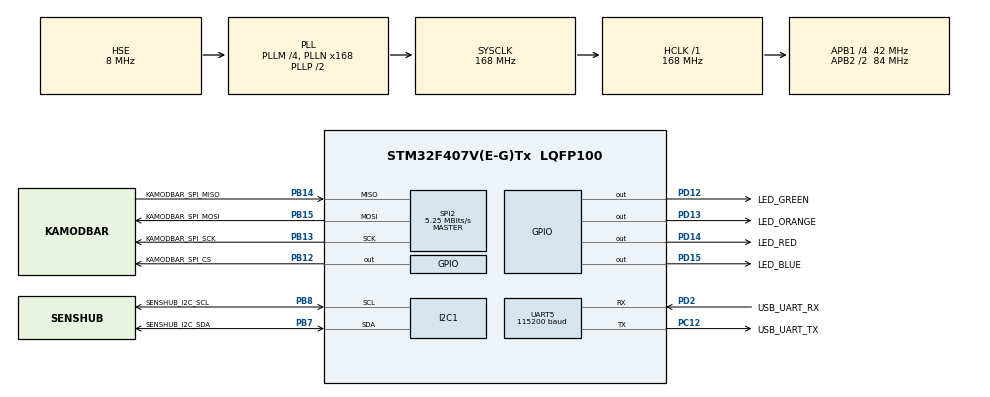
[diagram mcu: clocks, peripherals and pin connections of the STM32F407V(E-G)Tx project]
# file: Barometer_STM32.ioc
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Mcu.Family=STM32F4
Mcu.Name=STM32F407V(E-G)Tx
Mcu.Package=LQFP100
NVIC.PriorityGroup=NVIC_PRIORITYGROUP_4
PB12.GPIO_Label=KAMODBAR_SPI_CS
PB12.PinState=GPIO_PIN_SET
PB12.Signal=GPIO_Output
PB13.GPIO_Label=KAMODBAR_SPI_SCK
PB13.Mode=Full_Duplex_Master
PB13.Signal=SPI2_SCK
PB14.GPIO_Label=KAMODBAR_SPI_MISO
PB14.Mode=Full_Duplex_Master
PB14.Signal=SPI2_MISO
PB15.GPIO_Label=KAMODBAR_SPI_MOSI
PB15.Mode=Full_Duplex_Master
PB15.Signal=SPI2_MOSI
PB7.GPIO_Label=SENSHUB_I2C_SDA
PB7.GPIO_PuPdOD=GPIO_NOPULL
PB7.Mode=I2C
PB7.Signal=I2C1_SDA
PB8.GPIO_Label=SENSHUB_I2C_SCL
PB8.GPIO_PuPdOD=GPIO_NOPULL
PB8.Mode=I2C
PB8.Signal=I2C1_SCL
PC12.GPIO_Label=USB_UART_TX
PC12.Mode=Asynchronous
PC12.Signal=UART5_TX
PD12.GPIO_Label=LED_GREEN
PD12.Signal=GPIO_Output
PD13.GPIO_Label=LED_ORANGE
PD13.Signal=GPIO_Output
PD14.GPIO_Label=LED_RED
PD14.Signal=GPIO_Output
PD15.GPIO_Label=LED_BLUE
PD15.Signal=GPIO_Output
PD2.GPIO_Label=USB_UART_RX
PD2.Mode=Asynchronous
PD2.Signal=UART5_RX
PH0-OSC_IN.Mode=HSE-External-Oscillator
PH0-OSC_IN.Signal=RCC_OSC_IN
PH1-OSC_OUT.Mode=HSE-External-Oscillator
PH1-OSC_OUT.Signal=RCC_OSC_OUT
ProjectManager.HeapSize=0x200
ProjectManager.StackSize=0x400
ProjectManager.TargetToolchain=SW4STM32
RCC.48MHZClocksFreq_Value=84000000
RCC.AHBFreq_Value=168000000
RCC.APB1CLKDivider=RCC_HCLK_DIV4
RCC.APB1Freq_Value=42000000
RCC.APB1TimFreq_Value=84000000
RCC.APB2CLKDivider=RCC_HCLK_DIV2
RCC.APB2Freq_Value=84000000
RCC.APB2TimFreq_Value=168000000
RCC.CortexFreq_Value=168000000
RCC.HCLKFreq_Value=168000000
RCC.HSE_VALUE=8000000
RCC.HSI_VALUE=16000000
RCC.LSE_VALUE=32768
RCC.PLLM=4
RCC.PLLN=168
RCC.PLLSourceVirtual=RCC_PLLSOURCE_HSE
RCC.SYSCLKFreq_VALUE=168000000
RCC.SYSCLKSource=RCC_SYSCLKSOURCE_PLLCLK
RCC.VCOOutputFreq_Value=336000000
SPI2.BaudRatePrescaler=SPI_BAUDRATEPRESCALER_8
SPI2.CalculateBaudRate=5.25 MBits/s
SPI2.Mode=SPI_MODE_MASTER
UART5.BaudRate=115200
board=Barometer_STM32

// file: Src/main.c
/**
  ******************************************************************************
  * File Name          : main.c
  * Description        : Main program body
  ******************************************************************************
  *
  * COPYRIGHT(c) 2016 STMicroelectronics
  *
  * Redistribution and use in source and binary forms, with or without modification,
  * are permitted provided that the following conditions are met:
  *   1. Redistributions of source code must retain the above copyright notice,
  *      this list of conditions and the following disclaimer.
  *   2. Redistributions in binary form must reproduce the above copyright notice,
  *      this list of conditions and the following disclaimer in the documentation
  *      and/or other materials provided with the distribution.
  *   3. Neither the name of STMicroelectronics nor the names of its contributors
  *      may be used to endorse or promote products derived from this software
  *      without specific prior written permission.
  *
  * THIS SOFTWARE IS PROVIDED BY THE COPYRIGHT HOLDERS AND CONTRIBUTORS "AS IS"
  * AND ANY EXPRESS OR IMPLIED WARRANTIES, INCLUDING, BUT NOT LIMITED TO, THE
  * IMPLIED WARRANTIES OF MERCHANTABILITY AND FITNESS FOR A PARTICULAR PURPOSE ARE
  * DISCLAIMED. IN NO EVENT SHALL THE COPYRIGHT HOLDER OR CONTRIBUTORS BE LIABLE
  * FOR ANY DIRECT, INDIRECT, INCIDENTAL, SPECIAL, EXEMPLARY, OR CONSEQUENTIAL
  * DAMAGES (INCLUDING, BUT NOT LIMITED TO, PROCUREMENT OF SUBSTITUTE GOODS OR
  * SERVICES; LOSS OF USE, DATA, OR PROFITS; OR BUSINESS INTERRUPTION) HOWEVER
  * CAUSED AND ON ANY THEORY OF LIABILITY, WHETHER IN CONTRACT, STRICT LIABILITY,
  * OR TORT (INCLUDING NEGLIGENCE OR OTHERWISE) ARISING IN ANY WAY OUT OF THE USE
  * OF THIS SOFTWARE, EVEN IF ADVISED OF THE POSSIBILITY OF SUCH DAMAGE.
  *
  ******************************************************************************
  */
#include "stm32f4xx_hal.h"

/* USER CODE BEGIN Includes */
/**
  ******************************************************************************
  * @file    main.c
  * @author  Karol Leszczyński
  * @version V1.0.0
  * @date    14-August-2016
  * @brief   Main file of Barometer_STM32 program.
  ******************************************************************************
  *
  * This file is part of Barometer_STM32.
  *
  * Barometer_STM32 is free software: you can redistribute it and/or modify
  * it under the terms of the GNU General Public License as published by
  * the Free Software Foundation, either version 3 of the License, or
  * (at your option) any later version.
  *
  * Barometer_STM32 is distributed in the hope that it will be useful,
  * but WITHOUT ANY WARRANTY; without even the implied warranty of
  * MERCHANTABILITY or FITNESS FOR A PARTICULAR PURPOSE.  See the
  * GNU General Public License for more details.
  *
  * You should have received a copy of the GNU General Public License
  * along with Barometer_STM32.  If not, see <http://www.gnu.org/licenses/>.
  *
  ******************************************************************************
  */

#include "bmp180.h"
#include "mpl115a1.h"
#include <math.h>
#include <string.h>
/* USER CODE END Includes */

I2C_HandleTypeDef hi2c1;

SPI_HandleTypeDef hspi2;

UART_HandleTypeDef huart5;

/* USER CODE BEGIN PV */
/* Private variables ---------------------------------------------------------*/

/* USER CODE END PV */

void SystemClock_Config(void);
void Error_Handler(void);
static void MX_GPIO_Init(void);
static void MX_UART5_Init(void);
static void MX_SPI2_Init(void);
static void MX_I2C1_Init(void);

/* USER CODE BEGIN PFP */
/* Private function prototypes -----------------------------------------------*/

/* USER CODE END PFP */

/* USER CODE BEGIN 0 */
void shiftLed();
void setAllLed();
void blinkLed();
/* USER CODE END 0 */

int main(void)
{

  /* MCU Configuration----------------------------------------------------------*/

  /* Reset of all peripherals, Initializes the Flash interface and the Systick. */
  HAL_Init();

  /* Configure the system clock */
  SystemClock_Config();

  /* Initialize all configured peripherals */
  MX_GPIO_Init();
  MX_UART5_Init();
  MX_SPI2_Init();
  MX_I2C1_Init();

  /* Infinite loop */
  /* USER CODE BEGIN WHILE */
  HAL_StatusTypeDef status;

  bmp180Device bmp180Device = {0};
  bmp180Device.handle = &hi2c1;
  bmp180Device.oversampling = 3;
  status = bmp180ReadCoefficients(&bmp180Device);
  if (status != HAL_OK)
    Error_Handler();

  mpl115a1Device mpl115a1Device = {0};
  mpl115a1Device.handle = &hspi2;
  mpl115a1Device.csPort = KAMODBAR_SPI_CS_GPIO_Port;
  mpl115a1Device.csPin = KAMODBAR_SPI_CS_Pin;
  status = mpl115a1ReadCoefficients(&mpl115a1Device);
  if (status != HAL_OK)
    Error_Handler();

  uint8_t uartMessage[] = "MPL115A1_Pressure;BMP180_Pressure;BMP180_Temperature\n\r";
  size_t messageSize = strlen(uartMessage) * sizeof(uartMessage[0]);
  status = HAL_UART_Transmit(&huart5, uartMessage, messageSize, 1000);
  if (status != HAL_OK)
    Error_Handler();

  while (1)
  {
    float bmp180Pressure = 0;
    float bmp180Temperature = 0;
    float mpl115a1Pressure = 0;

    // Software averaging using 16 samples.
    for(uint8_t i = 0; i < 16; i++)
    {
      status = bmp180ReadMeasurements(&bmp180Device);
      if (status != HAL_OK)
        Error_Handler();

      status = mpl115a1ReadMeasurements(&mpl115a1Device);
      if (status != HAL_OK)
        Error_Handler();

      bmp180Pressure += bmp180Device.pressure;
      bmp180Temperature += bmp180Device.temperature;
      mpl115a1Pressure += mpl115a1Device.pressure;
    }
    bmp180Pressure /= 16.0;
    bmp180Temperature /= 16.0;
    mpl115a1Pressure /= 16.0;

    bmp180Pressure = round(bmp180Pressure * 1000.0);
    bmp180Temperature = round(bmp180Temperature * 1000.0);
    mpl115a1Pressure = round(mpl115a1Pressure * 1000.0);

    sprintf(uartMessage, "%lu;%lu;%lu\n\r", (uint32_t)mpl115a1Pressure,
            (uint32_t)bmp180Pressure, (uint32_t)bmp180Temperature);
    messageSize = strlen(uartMessage) * sizeof(uartMessage[0]);
    status = HAL_UART_Transmit (&huart5, uartMessage, messageSize, 1000);
    if (status != HAL_OK)
      Error_Handler();

    shiftLed();
  /* USER CODE END WHILE */

  }

}

/** System Clock Configuration
*/
void SystemClock_Config(void)
{

  RCC_OscInitTypeDef RCC_OscInitStruct;
  RCC_ClkInitTypeDef RCC_ClkInitStruct;

  __HAL_RCC_PWR_CLK_ENABLE();

  __HAL_PWR_VOLTAGESCALING_CONFIG(PWR_REGULATOR_VOLTAGE_SCALE1);

  RCC_OscInitStruct.OscillatorType = RCC_OSCILLATORTYPE_HSE;
  RCC_OscInitStruct.HSEState = RCC_HSE_ON;
  RCC_OscInitStruct.PLL.PLLState = RCC_PLL_ON;
  RCC_OscInitStruct.PLL.PLLSource = RCC_PLLSOURCE_HSE;
  RCC_OscInitStruct.PLL.PLLM = 4;
  RCC_OscInitStruct.PLL.PLLN = 168;
  RCC_OscInitStruct.PLL.PLLP = RCC_PLLP_DIV2;
  RCC_OscInitStruct.PLL.PLLQ = 4;
  if (HAL_RCC_OscConfig(&RCC_OscInitStruct) != HAL_OK)
  {
    Error_Handler();
  }

  RCC_ClkInitStruct.ClockType = RCC_CLOCKTYPE_HCLK|RCC_CLOCKTYPE_SYSCLK
                              |RCC_CLOCKTYPE_PCLK1|RCC_CLOCKTYPE_PCLK2;
  RCC_ClkInitStruct.SYSCLKSource = RCC_SYSCLKSOURCE_PLLCLK;
  RCC_ClkInitStruct.AHBCLKDivider = RCC_SYSCLK_DIV1;
  RCC_ClkInitStruct.APB1CLKDivider = RCC_HCLK_DIV4;
  RCC_ClkInitStruct.APB2CLKDivider = RCC_HCLK_DIV2;
  if (HAL_RCC_ClockConfig(&RCC_ClkInitStruct, FLASH_LATENCY_5) != HAL_OK)
  {
    Error_Handler();
  }

  HAL_SYSTICK_Config(HAL_RCC_GetHCLKFreq()/1000);

  HAL_SYSTICK_CLKSourceConfig(SYSTICK_CLKSOURCE_HCLK);

  /* SysTick_IRQn interrupt configuration */
  HAL_NVIC_SetPriority(SysTick_IRQn, 0, 0);
}

/* I2C1 init function */
static void MX_I2C1_Init(void)
{

  hi2c1.Instance = I2C1;
  hi2c1.Init.ClockSpeed = 100000;
  hi2c1.Init.DutyCycle = I2C_DUTYCYCLE_2;
  hi2c1.Init.OwnAddress1 = 0;
  hi2c1.Init.AddressingMode = I2C_ADDRESSINGMODE_7BIT;
  hi2c1.Init.DualAddressMode = I2C_DUALADDRESS_DISABLE;
  hi2c1.Init.OwnAddress2 = 0;
  hi2c1.Init.GeneralCallMode = I2C_GENERALCALL_DISABLE;
  hi2c1.Init.NoStretchMode = I2C_NOSTRETCH_DISABLE;
  if (HAL_I2C_Init(&hi2c1) != HAL_OK)
  {
    Error_Handler();
  }

}

/* SPI2 init function */
static void MX_SPI2_Init(void)
{

  hspi2.Instance = SPI2;
  hspi2.Init.Mode = SPI_MODE_MASTER;
  hspi2.Init.Direction = SPI_DIRECTION_2LINES;
  hspi2.Init.DataSize = SPI_DATASIZE_8BIT;
  hspi2.Init.CLKPolarity = SPI_POLARITY_LOW;
  hspi2.Init.CLKPhase = SPI_PHASE_1EDGE;
  hspi2.Init.NSS = SPI_NSS_SOFT;
  hspi2.Init.BaudRatePrescaler = SPI_BAUDRATEPRESCALER_8;
  hspi2.Init.FirstBit = SPI_FIRSTBIT_MSB;
  hspi2.Init.TIMode = SPI_TIMODE_DISABLE;
  hspi2.Init.CRCCalculation = SPI_CRCCALCULATION_DISABLE;
  hspi2.Init.CRCPolynomial = 10;
  if (HAL_SPI_Init(&hspi2) != HAL_OK)
  {
    Error_Handler();
  }

}

/* UART5 init function */
static void MX_UART5_Init(void)
{

  huart5.Instance = UART5;
  huart5.Init.BaudRate = 115200;
  huart5.Init.WordLength = UART_WORDLENGTH_8B;
  huart5.Init.StopBits = UART_STOPBITS_1;
  huart5.Init.Parity = UART_PARITY_NONE;
  huart5.Init.Mode = UART_MODE_TX_RX;
  huart5.Init.HwFlowCtl = UART_HWCONTROL_NONE;
  huart5.Init.OverSampling = UART_OVERSAMPLING_16;
  if (HAL_UART_Init(&huart5) != HAL_OK)
  {
    Error_Handler();
  }

}

/** Configure pins as
        * Analog
        * Input
        * Output
        * EVENT_OUT
        * EXTI
*/
static void MX_GPIO_Init(void)
{

  GPIO_InitTypeDef GPIO_InitStruct;

  /* GPIO Ports Clock Enable */
  __HAL_RCC_GPIOH_CLK_ENABLE();
  __HAL_RCC_GPIOB_CLK_ENABLE();
  __HAL_RCC_GPIOD_CLK_ENABLE();
  __HAL_RCC_GPIOC_CLK_ENABLE();

  /*Configure GPIO pin Output Level */
  HAL_GPIO_WritePin(KAMODBAR_SPI_CS_GPIO_Port, KAMODBAR_SPI_CS_Pin, GPIO_PIN_SET);

  /*Configure GPIO pin Output Level */
  HAL_GPIO_WritePin(GPIOD, LED_GREEN_Pin|LED_ORANGE_Pin|LED_RED_Pin|LED_BLUE_Pin, GPIO_PIN_RESET);

  /*Configure GPIO pin : KAMODBAR_SPI_CS_Pin */
  GPIO_InitStruct.Pin = KAMODBAR_SPI_CS_Pin;
  GPIO_InitStruct.Mode = GPIO_MODE_OUTPUT_PP;
  GPIO_InitStruct.Pull = GPIO_NOPULL;
  GPIO_InitStruct.Speed = GPIO_SPEED_FREQ_LOW;
  HAL_GPIO_Init(KAMODBAR_SPI_CS_GPIO_Port, &GPIO_InitStruct);

  /*Configure GPIO pins : LED_GREEN_Pin LED_ORANGE_Pin LED_RED_Pin LED_BLUE_Pin */
  GPIO_InitStruct.Pin = LED_GREEN_Pin|LED_ORANGE_Pin|LED_RED_Pin|LED_BLUE_Pin;
  GPIO_InitStruct.Mode = GPIO_MODE_OUTPUT_PP;
  GPIO_InitStruct.Pull = GPIO_NOPULL;
  GPIO_InitStruct.Speed = GPIO_SPEED_FREQ_LOW;
  HAL_GPIO_Init(GPIOD, &GPIO_InitStruct);

}

/* USER CODE BEGIN 4 */
void shiftLed()
{
  static uint8_t ledCounter = 0;
  switch (ledCounter)
  {
    case 0:
      HAL_GPIO_WritePin(LED_GREEN_GPIO_Port, LED_GREEN_Pin, GPIO_PIN_SET);
      HAL_GPIO_WritePin(LED_ORANGE_GPIO_Port, LED_ORANGE_Pin, GPIO_PIN_RESET);
      HAL_GPIO_WritePin(LED_RED_GPIO_Port, LED_RED_Pin, GPIO_PIN_RESET);
      HAL_GPIO_WritePin(LED_BLUE_GPIO_Port, LED_BLUE_Pin, GPIO_PIN_RESET);
      break;
    case 1:
      HAL_GPIO_WritePin(LED_GREEN_GPIO_Port, LED_GREEN_Pin, GPIO_PIN_RESET);
      HAL_GPIO_WritePin(LED_ORANGE_GPIO_Port, LED_ORANGE_Pin, GPIO_PIN_SET);
      HAL_GPIO_WritePin(LED_RED_GPIO_Port, LED_RED_Pin, GPIO_PIN_RESET);
      HAL_GPIO_WritePin(LED_BLUE_GPIO_Port, LED_BLUE_Pin, GPIO_PIN_RESET);
      break;
    case 2:
      HAL_GPIO_WritePin(LED_GREEN_GPIO_Port, LED_GREEN_Pin, GPIO_PIN_RESET);
      HAL_GPIO_WritePin(LED_ORANGE_GPIO_Port, LED_ORANGE_Pin, GPIO_PIN_RESET);
      HAL_GPIO_WritePin(LED_RED_GPIO_Port, LED_RED_Pin, GPIO_PIN_SET);
      HAL_GPIO_WritePin(LED_BLUE_GPIO_Port, LED_BLUE_Pin, GPIO_PIN_RESET);
      break;
    case 3:
      HAL_GPIO_WritePin(LED_GREEN_GPIO_Port, LED_GREEN_Pin, GPIO_PIN_RESET);
      HAL_GPIO_WritePin(LED_ORANGE_GPIO_Port, LED_ORANGE_Pin, GPIO_PIN_RESET);
      HAL_GPIO_WritePin(LED_RED_GPIO_Port, LED_RED_Pin, GPIO_PIN_RESET);
      HAL_GPIO_WritePin(LED_BLUE_GPIO_Port, LED_BLUE_Pin, GPIO_PIN_SET);
      break;
    default:
      break;
  }
  if(ledCounter >= 3)
    ledCounter = 0;
  else
    ledCounter++;
}

void setAllLed()
{
  HAL_GPIO_WritePin(LED_GREEN_GPIO_Port, LED_GREEN_Pin, GPIO_PIN_SET);
  HAL_GPIO_WritePin(LED_ORANGE_GPIO_Port, LED_ORANGE_Pin, GPIO_PIN_SET);
  HAL_GPIO_WritePin(LED_RED_GPIO_Port, LED_RED_Pin, GPIO_PIN_SET);
  HAL_GPIO_WritePin(LED_BLUE_GPIO_Port, LED_BLUE_Pin, GPIO_PIN_SET);
}

void blinkLed()
{
  HAL_GPIO_TogglePin(LED_GREEN_GPIO_Port, LED_GREEN_Pin);
  HAL_GPIO_TogglePin(LED_ORANGE_GPIO_Port, LED_ORANGE_Pin);
  HAL_GPIO_TogglePin(LED_RED_GPIO_Port, LED_RED_Pin);
  HAL_GPIO_TogglePin(LED_BLUE_GPIO_Port, LED_BLUE_Pin);
}
/* USER CODE END 4 */

void Error_Handler(void)
{
  /* USER CODE BEGIN Error_Handler */
  /* User can add his own implementation to report the HAL error return state */
  setAllLed();
  while(1)
  {
      blinkLed();
      HAL_Delay(250);
  }
  /* USER CODE END Error_Handler */
}

/************************ (C) COPYRIGHT STMicroelectronics *****END OF FILE****/
